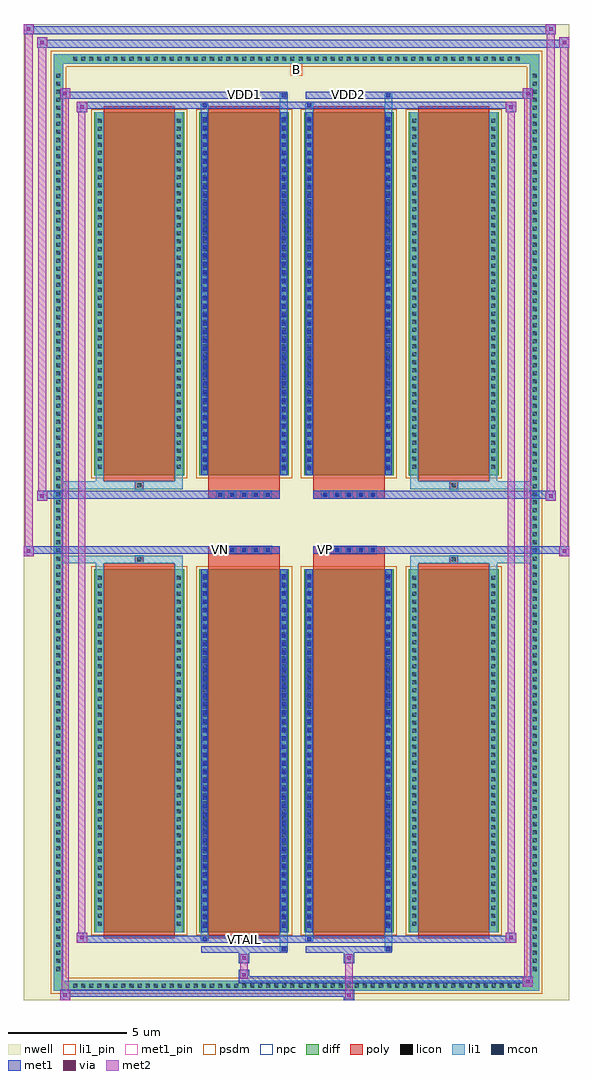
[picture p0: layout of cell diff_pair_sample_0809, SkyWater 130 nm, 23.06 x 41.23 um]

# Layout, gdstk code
import gdstk
lib = gdstk.Library(unit=1e-6, precision=5e-09)
def R(c, l, rs):  # rectangles x0, y0, x1, y1
    for r in rs: c.add(gdstk.rectangle(r[:2], r[2:], *l))
def A(c, l, x, y, w, h, nx, ny, dx, dy):  # array of equal rectangles
    R(c, l, [(x+i*dx, y+j*dy, x+i*dx+w, y+j*dy+h) for i in range(nx) for j in range(ny)])
def P(c, l, *ps):  # polygons
    for p in ps: c.add(gdstk.Polygon(p, *l))
nwell = (64, 20)
diff = (65, 20)
poly = (66, 20)
licon = (66, 44)
li1_pin = (67, 16)
li1 = (67, 20)
mcon = (67, 44)
met1_pin = (68, 16)
met1 = (68, 20)
via = (68, 44)
met2 = (69, 20)
psdm = (94, 20)
npc = (95, 20)

diff_pair_sample_0809 = lib.new_cell('diff_pair_sample_0809')
R(diff_pair_sample_0809, nwell, [(-11.53,-20.18,11.53,21.05), (-8.85,-18.37,-0.01,-0.805), (0.01,-18.37,8.85,-0.805), (-8.85,0.805,-0.01,18.37), (0.01,0.805,8.85,18.37)])
A(diff_pair_sample_0809, diff, -9.555, -19.78, 0.41, 0.41, 56, 2, 0.34, 39.15)
A(diff_pair_sample_0809, diff, -10.26, -19.075, 0.41, 0.41, 1, 112, 0, 0.34)
A(diff_pair_sample_0809, diff, 9.85, -19.075, 0.41, 0.41, 1, 112, 0, 0.34)
A(diff_pair_sample_0809, diff, -8.54, -17.325, 3.79, 15.34, 4, 2, 4.43, 19.31)
R(diff_pair_sample_0809, diff, [(-9.555,-19.78,9.555,-19.37), (-10.26,-19.075,-9.85,19.075), (9.85,-19.075,10.26,19.075), (-9.555,19.37,9.555,19.78)])
P(diff_pair_sample_0809, diff, [(10.26,19.78),(-10.26,19.78),(-10.26,-19.37),(-9.85,-19.37),(-9.85,19.37),(9.85,19.37),(9.85,-19.37),(-9.85,-19.37),(-10.26,-19.37),(-10.26,-19.78),(10.26,-19.78)])
A(diff_pair_sample_0809, poly, -8.15, -17.575, 3.01, 15.84, 4, 2, 4.43, 19.31)
A(diff_pair_sample_0809, poly, -3.38, -1.335, 0.33, 0.33, 5, 2, 0.5, 2.34)
A(diff_pair_sample_0809, poly, 1.05, -1.335, 0.33, 0.33, 5, 2, 0.5, 2.34)
R(diff_pair_sample_0809, poly, [(-6.81,-1.735,-6.48,-1.405), (-6.81,-1.735,-6.48,-1.405), (-3.72,-1.735,-0.71,-1.335), (0.71,-1.735,3.72,-1.335), (6.48,-1.735,6.81,-1.405), (6.48,-1.735,6.81,-1.405), (-3.72,-1.335,-0.71,-1.005), (0.71,-1.335,3.72,-1.005), (-3.72,1.005,-0.71,1.335), (0.71,1.005,3.72,1.335), (-3.72,1.335,-0.71,1.735), (0.71,1.335,3.72,1.735), (-6.81,1.405,-6.48,1.735), (-6.81,1.405,-6.48,1.735), (6.48,1.405,6.81,1.735), (6.48,1.405,6.81,1.735)])
A(diff_pair_sample_0809, licon, -9.435, -19.66, 0.17, 0.17, 56, 2, 0.34, 39.15)
A(diff_pair_sample_0809, licon, -10.14, -18.955, 0.17, 0.17, 1, 112, 0, 0.34)
A(diff_pair_sample_0809, licon, 9.97, -18.955, 0.17, 0.17, 1, 112, 0, 0.34)
A(diff_pair_sample_0809, licon, -8.4, -17.05, 0.17, 0.17, 1, 44, 0, 0.34)
A(diff_pair_sample_0809, licon, -5.06, -17.05, 0.17, 0.17, 1, 44, 0, 0.34)
A(diff_pair_sample_0809, licon, -3.97, -17.05, 0.17, 0.17, 1, 44, 0, 0.34)
A(diff_pair_sample_0809, licon, -0.63, -17.05, 0.17, 0.17, 1, 44, 0, 0.34)
A(diff_pair_sample_0809, licon, 0.46, -17.05, 0.17, 0.17, 1, 44, 0, 0.34)
A(diff_pair_sample_0809, licon, 3.8, -17.05, 0.17, 0.17, 1, 44, 0, 0.34)
A(diff_pair_sample_0809, licon, 4.89, -17.05, 0.17, 0.17, 1, 44, 0, 0.34)
A(diff_pair_sample_0809, licon, 8.23, -17.05, 0.17, 0.17, 1, 44, 0, 0.34)
A(diff_pair_sample_0809, licon, -3.3, -1.255, 0.17, 0.17, 5, 2, 0.5, 2.34)
A(diff_pair_sample_0809, licon, 1.13, -1.255, 0.17, 0.17, 5, 2, 0.5, 2.34)
A(diff_pair_sample_0809, licon, -8.4, 2.26, 0.17, 0.17, 1, 44, 0, 0.34)
A(diff_pair_sample_0809, licon, -5.06, 2.26, 0.17, 0.17, 1, 44, 0, 0.34)
A(diff_pair_sample_0809, licon, -3.97, 2.26, 0.17, 0.17, 1, 44, 0, 0.34)
A(diff_pair_sample_0809, licon, -0.63, 2.26, 0.17, 0.17, 1, 44, 0, 0.34)
A(diff_pair_sample_0809, licon, 0.46, 2.26, 0.17, 0.17, 1, 44, 0, 0.34)
A(diff_pair_sample_0809, licon, 3.8, 2.26, 0.17, 0.17, 1, 44, 0, 0.34)
A(diff_pair_sample_0809, licon, 4.89, 2.26, 0.17, 0.17, 1, 44, 0, 0.34)
A(diff_pair_sample_0809, licon, 8.23, 2.26, 0.17, 0.17, 1, 44, 0, 0.34)
R(diff_pair_sample_0809, licon, [(-6.73,-1.655,-6.56,-1.485), (6.56,-1.655,6.73,-1.485), (-6.73,1.485,-6.56,1.655), (6.56,1.485,6.73,1.655)])
R(diff_pair_sample_0809, li1_pin, [(-0.25,18.87,0.25,19.37)])
A(diff_pair_sample_0809, li1, -9.515, -19.74, 0.33, 0.33, 56, 2, 0.34, 39.15)
A(diff_pair_sample_0809, li1, -10.22, -19.035, 0.33, 0.33, 1, 112, 0, 0.34)
A(diff_pair_sample_0809, li1, 9.89, -19.035, 0.33, 0.33, 1, 112, 0, 0.34)
A(diff_pair_sample_0809, li1, -8.48, -17.13, 0.33, 0.33, 1, 44, 0, 0.34)
A(diff_pair_sample_0809, li1, -5.14, -17.13, 0.33, 0.33, 1, 44, 0, 0.34)
A(diff_pair_sample_0809, li1, -4.05, -17.13, 0.33, 0.33, 1, 44, 0, 0.34)
A(diff_pair_sample_0809, li1, -0.71, -17.13, 0.33, 0.33, 1, 44, 0, 0.34)
A(diff_pair_sample_0809, li1, 0.38, -17.13, 0.33, 0.33, 1, 44, 0, 0.34)
A(diff_pair_sample_0809, li1, 3.72, -17.13, 0.33, 0.33, 1, 44, 0, 0.34)
A(diff_pair_sample_0809, li1, 4.81, -17.13, 0.33, 0.33, 1, 44, 0, 0.34)
A(diff_pair_sample_0809, li1, 8.15, -17.13, 0.33, 0.33, 1, 44, 0, 0.34)
A(diff_pair_sample_0809, li1, -3.97, -17.12, 0.17, 0.17, 1, 42, 0, 0.36)
A(diff_pair_sample_0809, li1, -0.63, -17.12, 0.17, 0.17, 1, 42, 0, 0.36)
A(diff_pair_sample_0809, li1, 0.46, -17.12, 0.17, 0.17, 1, 42, 0, 0.36)
A(diff_pair_sample_0809, li1, 3.8, -17.12, 0.17, 0.17, 1, 42, 0, 0.36)
A(diff_pair_sample_0809, li1, -3.38, -1.335, 0.33, 0.33, 5, 2, 0.5, 2.34)
A(diff_pair_sample_0809, li1, 1.05, -1.335, 0.33, 0.33, 5, 2, 0.5, 2.34)
A(diff_pair_sample_0809, li1, -8.48, 2.18, 0.33, 0.33, 1, 44, 0, 0.34)
A(diff_pair_sample_0809, li1, -5.14, 2.18, 0.33, 0.33, 1, 44, 0, 0.34)
A(diff_pair_sample_0809, li1, -4.05, 2.18, 0.33, 0.33, 1, 44, 0, 0.34)
A(diff_pair_sample_0809, li1, -0.71, 2.18, 0.33, 0.33, 1, 44, 0, 0.34)
A(diff_pair_sample_0809, li1, 0.38, 2.18, 0.33, 0.33, 1, 44, 0, 0.34)
A(diff_pair_sample_0809, li1, 3.72, 2.18, 0.33, 0.33, 1, 44, 0, 0.34)
A(diff_pair_sample_0809, li1, 4.81, 2.18, 0.33, 0.33, 1, 44, 0, 0.34)
A(diff_pair_sample_0809, li1, 8.15, 2.18, 0.33, 0.33, 1, 44, 0, 0.34)
A(diff_pair_sample_0809, li1, -3.97, 2.19, 0.17, 0.17, 1, 42, 0, 0.36)
A(diff_pair_sample_0809, li1, -0.63, 2.19, 0.17, 0.17, 1, 42, 0, 0.36)
A(diff_pair_sample_0809, li1, 0.46, 2.19, 0.17, 0.17, 1, 42, 0, 0.36)
A(diff_pair_sample_0809, li1, 3.8, 2.19, 0.17, 0.17, 1, 42, 0, 0.36)
R(diff_pair_sample_0809, li1, [(-10.26,-19.78,-9.85,-19.37), (-10.26,-19.78,-9.85,-19.37), (-9.85,-19.78,9.85,-19.37), (9.85,-19.78,10.26,-19.37), (9.85,-19.78,10.26,-19.37), (-10.26,-19.37,-9.85,19.37), (9.85,-19.37,10.26,19.37), (-0.71,-18.13,-0.38,-17.325), (-0.63,-18.13,-0.46,-17.96), (3.72,-18.13,4.05,-17.325), (3.8,-18.13,3.97,-17.96), (-4.05,-17.7,-3.72,-17.325), (-3.97,-17.7,-3.8,-17.53), (0.38,-17.7,0.71,-17.325), (0.46,-17.7,0.63,-17.53), (-8.48,-17.325,-8.15,-1.985), (-5.14,-17.325,-4.81,-1.985), (-4.05,-17.325,-3.72,-1.985), (-0.71,-17.325,-0.38,-1.985), (0.38,-17.325,0.71,-1.985), (3.72,-17.325,4.05,-1.985), (4.81,-17.325,5.14,-1.985), (8.15,-17.325,8.48,-1.985), (-3.97,-17.12,-3.8,-2.19), (-0.63,-17.12,-0.46,-2.19), (0.46,-17.12,0.63,-2.19), (3.8,-17.12,3.97,-2.19), (-8.48,-1.985,-8.15,-1.405), (-5.14,-1.985,-4.81,-1.405), (4.81,-1.985,5.14,-1.405), (8.15,-1.985,8.48,-1.405), (-10.26,-1.735,-6.81,-1.405), (-8.48,-1.735,-6.81,-1.405), (-6.81,-1.735,-6.48,-1.405), (-6.48,-1.735,-4.81,-1.405), (4.81,-1.735,6.48,-1.405), (6.48,-1.735,6.81,-1.405), (6.48,-1.735,10.26,-1.405), (6.81,-1.735,8.48,-1.405), (-10.26,1.405,-6.81,1.735), (-8.48,1.405,-6.81,1.735), (-8.48,1.405,-8.15,1.985), (-6.81,1.405,-6.48,1.735), (-6.48,1.405,-4.81,1.735), (-5.14,1.405,-4.81,1.985), (4.81,1.405,6.48,1.735), (4.81,1.405,5.14,1.985), (6.48,1.405,6.81,1.735), (6.48,1.405,10.26,1.735), (6.81,1.405,8.48,1.735), (8.15,1.405,8.48,1.985), (-8.48,1.985,-8.15,17.325), (-5.14,1.985,-4.81,17.325), (-4.05,1.985,-3.72,17.325), (-0.71,1.985,-0.38,17.325), (0.38,1.985,0.71,17.325), (3.72,1.985,4.05,17.325), (4.81,1.985,5.14,17.325), (8.15,1.985,8.48,17.325), (-3.97,2.19,-3.8,17.12), (-0.63,2.19,-0.46,17.12), (0.46,2.19,0.63,17.12), (3.8,2.19,3.97,17.12), (-4.05,17.325,-3.72,17.7), (-0.71,17.325,-0.38,18.13), (0.38,17.325,0.71,17.7), (3.72,17.325,4.05,18.13), (-3.97,17.53,-3.8,17.7), (0.46,17.53,0.63,17.7), (-0.63,17.96,-0.46,18.13), (3.8,17.96,3.97,18.13), (-10.26,19.37,-9.85,19.78), (-10.26,19.37,-9.85,19.78), (-9.85,19.37,9.85,19.78), (9.85,19.37,10.26,19.78), (9.85,19.37,10.26,19.78)])
A(diff_pair_sample_0809, mcon, -3.97, -17.12, 0.17, 0.17, 1, 42, 0, 0.36)
A(diff_pair_sample_0809, mcon, -0.63, -17.12, 0.17, 0.17, 1, 42, 0, 0.36)
A(diff_pair_sample_0809, mcon, 0.46, -17.12, 0.17, 0.17, 1, 42, 0, 0.36)
A(diff_pair_sample_0809, mcon, 3.8, -17.12, 0.17, 0.17, 1, 42, 0, 0.36)
A(diff_pair_sample_0809, mcon, -3.3, -1.255, 0.17, 0.17, 5, 2, 0.5, 2.34)
A(diff_pair_sample_0809, mcon, 1.13, -1.255, 0.17, 0.17, 5, 2, 0.5, 2.34)
A(diff_pair_sample_0809, mcon, -3.97, 2.19, 0.17, 0.17, 1, 42, 0, 0.36)
A(diff_pair_sample_0809, mcon, -0.63, 2.19, 0.17, 0.17, 1, 42, 0, 0.36)
A(diff_pair_sample_0809, mcon, 0.46, 2.19, 0.17, 0.17, 1, 42, 0, 0.36)
A(diff_pair_sample_0809, mcon, 3.8, 2.19, 0.17, 0.17, 1, 42, 0, 0.36)
R(diff_pair_sample_0809, mcon, [(-0.63,-18.13,-0.46,-17.96), (3.8,-18.13,3.97,-17.96), (-3.97,-17.7,-3.8,-17.53), (0.46,-17.7,0.63,-17.53), (-3.97,17.53,-3.8,17.7), (0.46,17.53,0.63,17.7), (-0.63,17.96,-0.46,18.13), (3.8,17.96,3.97,18.13)])
R(diff_pair_sample_0809, met1_pin, [(-2.35,-17.74,-2.08,-17.47), (-3.35,-1.295,-3.08,-1.025), (1.08,-1.295,1.35,-1.025), (-2.35,17.92,-2.08,18.19), (2.08,17.92,2.35,18.19)])
A(diff_pair_sample_0809, met1, -4.03, -17.18, 0.29, 0.29, 1, 42, 0, 0.36)
A(diff_pair_sample_0809, met1, -0.69, -17.18, 0.29, 0.29, 1, 42, 0, 0.36)
A(diff_pair_sample_0809, met1, 0.4, -17.18, 0.29, 0.29, 1, 42, 0, 0.36)
A(diff_pair_sample_0809, met1, 3.74, -17.18, 0.29, 0.29, 1, 42, 0, 0.36)
A(diff_pair_sample_0809, met1, -3.36, -1.315, 0.29, 0.29, 5, 2, 0.5, 2.34)
A(diff_pair_sample_0809, met1, 1.07, -1.315, 0.29, 0.29, 5, 2, 0.5, 2.34)
A(diff_pair_sample_0809, met1, -4.03, 2.13, 0.29, 0.29, 1, 42, 0, 0.36)
A(diff_pair_sample_0809, met1, -0.69, 2.13, 0.29, 0.29, 1, 42, 0, 0.36)
A(diff_pair_sample_0809, met1, 0.4, 2.13, 0.29, 0.29, 1, 42, 0, 0.36)
A(diff_pair_sample_0809, met1, 3.74, 2.13, 0.29, 0.29, 1, 42, 0, 0.36)
R(diff_pair_sample_0809, met1, [(-9.99,-20.18,-9.56,-19.75), (2,-20.18,2.43,-19.75), (-9.99,-20.04,2.43,-19.75), (9.56,-19.61,9.99,-19.18), (-2.43,-19.47,9.99,-19.18), (-2.43,-19.33,-2,-18.9), (-2.43,-18.62,-2,-18.19), (2,-18.62,2.43,-18.19), (-4.03,-18.19,-0.4,-17.9), (-0.69,-18.19,-0.4,-17.9), (0.4,-18.19,4.03,-17.9), (3.74,-18.19,4.03,-17.9), (-9.28,-17.76,-8.85,-17.33), (-9.28,-17.76,-4.03,-17.47), (-4.03,-17.76,-3.74,-17.47), (-4.03,-17.76,-0.4,-17.47), (-0.4,-17.76,0.4,-17.47), (0.4,-17.76,0.69,-17.47), (0.4,-17.76,4.03,-17.47), (4.03,-17.76,9.28,-17.47), (8.85,-17.76,9.28,-17.33), (-4.03,-17.325,-3.74,-1.985), (-0.69,-17.325,-0.4,-1.985), (0.4,-17.325,0.69,-1.985), (3.74,-17.325,4.03,-1.985), (-11.53,-1.435,-11.1,-1.005), (11.1,-1.435,11.53,-1.005), (-11.53,-1.335,-0.71,-1.005), (-3.72,-1.335,-0.71,-1.005), (0.71,-1.335,3.72,-1.005), (0.71,-1.335,11.53,-1.005), (-10.96,0.905,-10.53,1.335), (10.53,0.905,10.96,1.335), (-10.96,1.005,-3.72,1.335), (-3.72,1.005,-0.71,1.335), (0.71,1.005,3.72,1.335), (3.72,1.005,10.96,1.335), (-4.03,1.985,-3.74,17.325), (-0.69,1.985,-0.4,17.325), (0.4,1.985,0.69,17.325), (3.74,1.985,4.03,17.325), (-9.28,17.33,-8.85,17.76), (8.85,17.33,9.28,17.76), (-9.28,17.47,-4.03,17.76), (-4.03,17.47,-3.74,17.76), (-4.03,17.47,-0.4,17.76), (-0.4,17.47,0.4,17.76), (0.4,17.47,0.69,17.76), (0.4,17.47,4.03,17.76), (4.03,17.47,9.28,17.76), (-9.99,17.9,-9.56,18.33), (-9.99,17.9,-4.03,18.19), (-4.03,17.9,-0.4,18.19), (-0.69,17.9,-0.4,18.19), (0.4,17.9,4.03,18.19), (3.74,17.9,4.03,18.19), (4.03,17.9,9.99,18.19), (9.56,17.9,9.99,18.33), (-10.96,20.05,-10.53,20.48), (-10.96,20.05,-8.85,20.38), (-8.85,20.05,8.85,20.38), (8.85,20.05,11.53,20.38), (11.1,20.05,11.53,20.48), (-11.53,20.62,-11.1,21.05), (-11.53,20.62,-8.85,20.95), (-8.85,20.62,8.85,20.95), (8.85,20.62,10.96,20.95), (10.53,20.62,10.96,21.05)])
R(diff_pair_sample_0809, via, [(-9.85,-20.04,-9.7,-19.89), (2.14,-20.04,2.29,-19.89), (9.7,-19.47,9.85,-19.32), (-2.29,-19.19,-2.14,-19.04), (-2.29,-18.48,-2.14,-18.33), (2.14,-18.48,2.29,-18.33), (-9.14,-17.62,-8.99,-17.47), (8.99,-17.62,9.14,-17.47), (-11.39,-1.295,-11.24,-1.145), (11.24,-1.295,11.39,-1.145), (-10.82,1.045,-10.67,1.195), (10.67,1.045,10.82,1.195), (-9.14,17.47,-8.99,17.62), (8.99,17.47,9.14,17.62), (-9.85,18.04,-9.7,18.19), (9.7,18.04,9.85,18.19), (-10.82,20.19,-10.67,20.34), (11.24,20.19,11.39,20.34), (-11.39,20.76,-11.24,20.91), (10.67,20.76,10.82,20.91)])
R(diff_pair_sample_0809, met2, [(-9.99,-20.18,-9.56,-19.75), (-9.92,-20.18,-9.63,18.33), (-9.63,-20.18,-9.56,-19.75), (-9.94,-20.13,-9.61,-19.8), (2.05,-20.13,2.38,-19.8), (2.05,-19.8,2.38,-18.57), (9.56,-19.61,9.99,-19.18), (9.63,-19.61,9.92,18.33), (9.92,-19.61,9.99,-19.18), (9.61,-19.56,9.94,-19.23), (-2.38,-19.28,-2.05,-18.95), (-2.38,-18.95,-2.05,-18.57), (-2.38,-18.57,-2.05,-18.24), (2.05,-18.57,2.38,-18.24), (-9.28,-17.76,-8.85,-17.33), (-9.21,-17.76,-8.92,17.76), (-8.92,-17.76,-8.85,-17.33), (8.85,-17.76,9.28,-17.33), (8.92,-17.76,9.21,17.76), (9.21,-17.76,9.28,-17.33), (-9.23,-17.71,-8.9,-17.38), (8.9,-17.71,9.23,-17.38), (-11.53,-1.435,-11.1,-1.005), (-11.48,-1.435,-11.15,21.05), (-11.15,-1.435,-11.1,-1.005), (11.1,-1.435,11.53,-1.005), (11.15,-1.435,11.48,20.48), (11.48,-1.435,11.53,-1.005), (-11.48,-1.385,-11.15,-1.055), (11.15,-1.385,11.48,-1.055), (-10.96,0.905,-10.53,1.335), (-10.91,0.905,-10.58,20.48), (-10.58,0.905,-10.53,1.335), (10.53,0.905,10.96,1.335), (10.58,0.905,10.91,21.05), (10.91,0.905,10.96,1.335), (-10.91,0.955,-10.58,1.285), (10.58,0.955,10.91,1.285), (-9.28,17.33,-8.85,17.76), (-8.92,17.33,-8.85,17.76), (8.85,17.33,9.28,17.76), (9.21,17.33,9.28,17.76), (-9.23,17.38,-8.9,17.71), (8.9,17.38,9.23,17.71), (-9.99,17.9,-9.56,18.33), (-9.63,17.9,-9.56,18.33), (9.56,17.9,9.99,18.33), (9.92,17.9,9.99,18.33), (-9.94,17.95,-9.61,18.28), (9.61,17.95,9.94,18.28), (-10.96,20.05,-10.53,20.48), (-10.58,20.05,-10.53,20.48), (11.1,20.05,11.53,20.48), (11.48,20.05,11.53,20.48), (-10.91,20.1,-10.58,20.43), (11.15,20.1,11.48,20.43), (-11.53,20.62,-11.1,21.05), (-11.15,20.62,-11.1,21.05), (10.53,20.62,10.96,21.05), (10.91,20.62,10.96,21.05), (-11.48,20.67,-11.15,21), (10.58,20.67,10.91,21)])
A(diff_pair_sample_0809, psdm, -8.67, -17.455, 4.05, 15.6, 4, 2, 4.43, 19.31)
P(diff_pair_sample_0809, psdm, [(10.39,19.91),(-10.39,19.91),(-10.39,-19.24),(-9.72,-19.24),(-9.72,19.24),(9.72,19.24),(9.72,-19.24),(-9.72,-19.24),(-10.39,-19.24),(-10.39,-19.91),(10.39,-19.91)])
A(diff_pair_sample_0809, npc, -3.4, -1.355, 0.37, 0.37, 5, 2, 0.5, 2.34)
A(diff_pair_sample_0809, npc, 1.03, -1.355, 0.37, 0.37, 5, 2, 0.5, 2.34)
R(diff_pair_sample_0809, npc, [(-6.83,-1.755,-6.46,-1.385), (6.46,-1.755,6.83,-1.385), (-3.4,-1.355,-2.53,-0.985), (-3.4,-1.355,-2.53,-0.985), (-2.9,-1.355,-2.03,-0.985), (-2.9,-1.355,-2.03,-0.985), (-2.4,-1.355,-1.53,-0.985), (-2.4,-1.355,-1.53,-0.985), (-1.9,-1.355,-1.03,-0.985), (-1.9,-1.355,-1.03,-0.985), (1.03,-1.355,1.9,-0.985), (1.03,-1.355,1.9,-0.985), (1.53,-1.355,2.4,-0.985), (1.53,-1.355,2.4,-0.985), (2.03,-1.355,2.9,-0.985), (2.03,-1.355,2.9,-0.985), (2.53,-1.355,3.4,-0.985), (2.53,-1.355,3.4,-0.985), (-3.4,0.985,-2.53,1.355), (-3.4,0.985,-2.53,1.355), (-2.9,0.985,-2.03,1.355), (-2.9,0.985,-2.03,1.355), (-2.4,0.985,-1.53,1.355), (-2.4,0.985,-1.53,1.355), (-1.9,0.985,-1.03,1.355), (-1.9,0.985,-1.03,1.355), (1.03,0.985,1.9,1.355), (1.03,0.985,1.9,1.355), (1.53,0.985,2.4,1.355), (1.53,0.985,2.4,1.355), (2.03,0.985,2.9,1.355), (2.03,0.985,2.9,1.355), (2.53,0.985,3.4,1.355), (2.53,0.985,3.4,1.355), (-6.83,1.385,-6.46,1.755), (6.46,1.385,6.83,1.755)])
diff_pair_sample_0809.add(gdstk.Label('VTAIL', (-2.215,-17.605), layer=68, texttype=5))
diff_pair_sample_0809.add(gdstk.Label('VN', (-3.215,-1.16), layer=68, texttype=5))
diff_pair_sample_0809.add(gdstk.Label('VP', (1.215,-1.16), layer=68, texttype=5))
diff_pair_sample_0809.add(gdstk.Label('B', (0,19.12), layer=67, texttype=5))
diff_pair_sample_0809.add(gdstk.Label('VDD2', (2.215,18.055), layer=68, texttype=5))
diff_pair_sample_0809.add(gdstk.Label('VDD1', (-2.215,18.055), layer=68, texttype=5))

lib.write_gds('diff_pair_sample_0809.gds')
